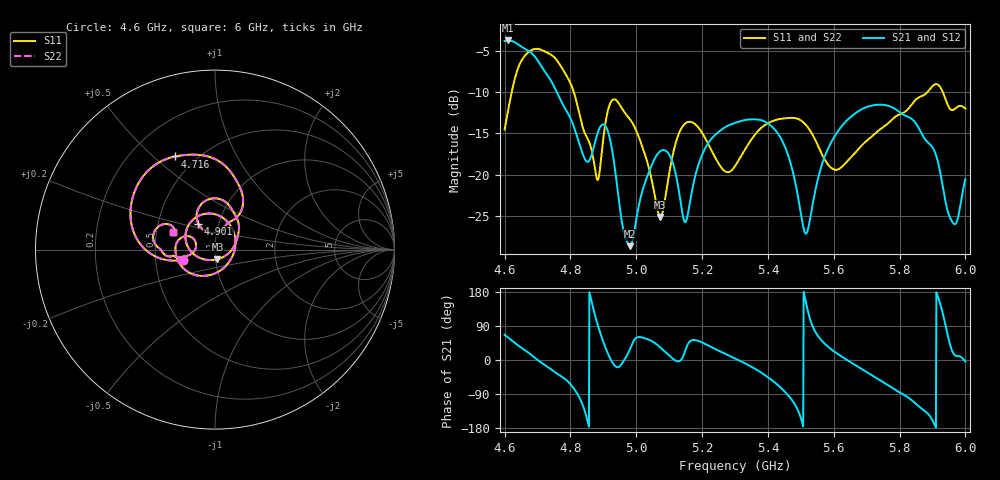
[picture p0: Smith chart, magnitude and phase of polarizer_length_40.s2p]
! TOUCHSTONE file generated by CST MICROWAVE STUDIO
! Date and time: Sun Dec  1 17:16:56 2024
! Project name: test_tuning.cst
! Parameters = {airCoaxOuterDiameter=3; chamferAngle=45; chamferWidth=24; connectorLength=10; drillingHoleDiameter=4.1; feedLength=60; flareDiameter=130; flareLength=70; gratingDistance=0; gratingGap=1.90274; outletLength=30; polarizerLength=142; probe1Diameter=1.3; probe1Distance=14; probe1Length=1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
! Header version: 2024
! Port assignment regex: !\s*Touchstone port\s*([0-9]+)\s*=\s*(CST MWS port|CST DES external port|CST DES block port)\s*(.+)\s* \(\"(.*)\"\)(\s*mode\s*([0-9]+))?.*
! Touchstone port assignment:
! Touchstone port 1 = CST MWS port 1 ("Input1")
! Touchstone port 2 = CST MWS port 2 ("Input2")
# GHz S MA R 50
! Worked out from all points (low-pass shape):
!   1001 points, 4.6 GHz to 6 GHz, reference 50 ohm
!   highest |S21| = -3.75 dB at 4.611 GHz (marker M1); lowest = -28.7 dB at 4.981 GHz (marker M2)
!   |S21| within 3 dB of the highest: start of sweep to 4.71 GHz
!   lowest |S11| = -25.1 dB at 5.073 GHz (marker M3), VSWR 1.12, Z = 51.1 - j5.5 ohm
!   |S11| at or under -10 dB: start of sweep to 4.621588 GHz; 4.81 GHz to 5.885 GHz (1.074 GHz wide, 20.1 % of centre); 5.931 GHz to end of sweep
!   |S22| runs from -25.1 to -4.8 dB; largest |S21 - S12| = 6.4e-07
!   S11 on the Smith chart (normalised r, x): 4.6 GHz: 0.69, -0.08; 4.716 GHz: 0.39, +0.59; 4.901 GHz: 0.80, +0.24; 6 GHz: 0.61, +0.13
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4.6  0.1876 -162.0  0.6446 66.6  0.6446 66.6  0.1876 -162.0
4.6112  0.248 -165.7  0.6494 58.9  0.6495 58.9  0.248 -165.7
4.6588  0.5167 155.7  0.5818 27.9  0.5818 27.9  0.5167 155.7
4.7162  0.5642 113.1  0.4389 -9.6  0.4389 -9.6  0.5642 113.1
4.8338  0.2053 56.8  0.1395 -111.2  0.1395 -111.2  0.2053 56.8
4.8814  0.0931 89.6  0.1753 97.1  0.1753 97.1  0.0931 89.6
4.901  0.1723 122.8  0.201 45.3  0.201 45.3  0.1723 122.8
4.929  0.2845 94.8  0.132 -8.7  0.132 -8.7  0.2845 94.8
4.9808  0.2164 56.8  0.03681 29.0  0.03681 29.0  0.2164 56.8
5.0676  0.05778 -54.5  0.1354 37.3  0.1354 37.3  0.05778 -54.5
5.0732  0.05529 -76.0  0.1387 33.0  0.1387 33.0  0.05529 -76.0
5.1488  0.2041 132.4  0.05146 24.6  0.05146 24.6  0.2041 132.4
5.209  0.1665 63.0  0.1437 42.5  0.1437 42.5  0.1665 63.0
5.3  0.1124 -63.1  0.2055 4.1  0.2055 4.1  0.1124 -63.1
5.419  0.2126 -159.2  0.1891 -58.0  0.1891 -58.0  0.2126 -159.2
5.5114  0.2039 162.3  0.04487 169.0  0.04487 169.0  0.2039 162.3
5.5338  0.1769 154.7  0.06246 93.1  0.06246 93.1  0.1769 154.7
5.6192  0.1091 178.4  0.1906 11.9  0.1906 11.9  0.1091 178.4
5.7676  0.2065 -168.0  0.2602 -67.9  0.2602 -67.9  0.2065 -168.0
5.902  0.3463 171.5  0.144 -162.3  0.144 -162.3  0.3463 171.5
5.9622  0.2462 158.3  0.05099 19.4  0.05099 19.4  0.2462 158.3
6  0.2513 157.3  0.09376 -4.2  0.09376 -4.2  0.2513 157.3
